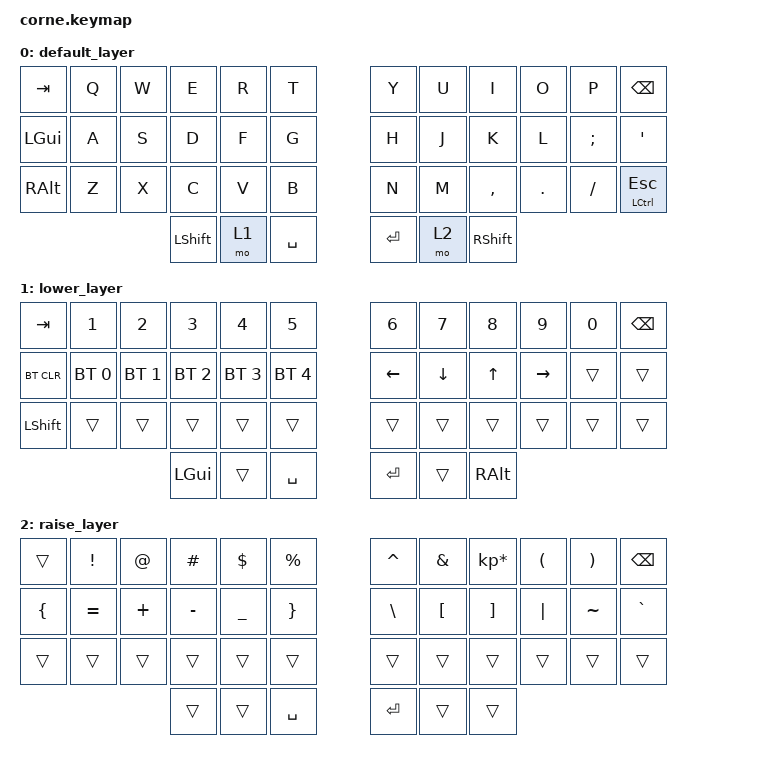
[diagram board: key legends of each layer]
/*
 * Copyright (c) 2020 The ZMK Contributors
 *
 * SPDX-License-Identifier: MIT
 */

#include <behaviors.dtsi>
#include <dt-bindings/zmk/keys.h>
#include <dt-bindings/zmk/bt.h>

/ {
        keymap {
                compatible = "zmk,keymap";

                default_layer {
// -----------------------------------------------------------------------------------------
// |  TAB |  Q  |  W  |  E  |  R  |  T  |   |  Y  |  U   |  I  |  O  |  P  | BKSP |
// | LGUI |  A  |  S  |  D  |  F  |  G  |   |  H  |  J   |  K  |  L  |  ;  |  '   |
// | ALT |  Z  |  X  |  C  |  V  |  B  |   |  N  |  M   |  ,  |  .  |  /  | CTRL/ESC  |
//                    | LSHFT | LWR | SPC |   | ENT | RSE  | RSHFT |
                        bindings = <
   &kp TAB   &kp Q &kp W &kp E &kp R &kp T   &kp Y &kp U  &kp I     &kp O   &kp P    &kp BSPC
   &kp LGUI &kp A &kp S &kp D &kp F &kp G   &kp H &kp J  &kp K     &kp L   &kp SEMI &kp SINGLE_QUOTE
   &kp RALT &kp Z &kp X &kp C &kp V &kp B   &kp N &kp M  &kp COMMA &kp DOT &kp FSLH &mt LCTRL ESC
                  &kp LSHFT &mo 1 &kp SPACE   &kp RET &mo 2 &kp RSHFT
                        >;
                };
                lower_layer {
// -----------------------------------------------------------------------------------------
// |  TAB |  1  |  2  |  3  |  4  |  5  |   |  6  |  7  |  8  |  9  |  0  | BKSP |
// | BTCLR| BT1 | BT2 | BT3 | BT4 | BT5 |   | LFT | DWN |  UP | RGT |     |      |
// | SHFT |     |     |     |     |     |   |     |     |     |     |     |      |
//                    | GUI |     | SPC |   | ENT |     | ALT |
                        bindings = <
   &kp TAB    &kp N1       &kp N2       &kp N3       &kp N4       &kp N5         &kp N6   &kp N7   &kp N8 &kp N9    &kp N0 &kp BSPC
   &bt BT_CLR &bt BT_SEL 0 &bt BT_SEL 1 &bt BT_SEL 2 &bt BT_SEL 3 &bt BT_SEL 4   &kp LEFT &kp DOWN &kp UP &kp RIGHT &trans &trans
   &kp LSHFT  &trans       &trans       &trans       &trans       &trans         &trans   &trans   &trans &trans    &trans &trans
                                    &kp LGUI     &trans       &kp SPACE      &kp RET  &trans   &kp RALT
                        >;
                };

                raise_layer {
// -----------------------------------------------------------------------------------------
// |      |  !  |  @  |  #  |  $  |  %  |   |  ^  |  &  |  *  |  (  |  )  | BKSP |
// |   {  |  =  |  +  |  -  |  _  |  }  |   |  \  |  [  |  ]  | "|" |  ~  |  `   |
// |      |     |     |     |     |     |   |     |     |     |     |     |      |
//                    | GUI |     | SPC |   | ENT |     | ALT |
                        bindings = <
   &trans  &kp EXCL &kp AT &kp HASH &kp DLLR &kp PRCNT      &kp CARET &kp AMPS  &kp KP_MULTIPLY &kp LPAR &kp RPAR &kp BSPC
   &kp LBRC &kp EQUAL &kp PLUS &kp MINUS &kp UNDER &kp RBRC &kp BSLH  &kp LBKT  &kp RBKT &kp PIPE &kp TILDE &kp GRAVE
   &trans &trans &trans &trans &trans &trans      &trans &trans &trans &trans &trans  &trans 
                             &trans &trans   &kp SPACE   &kp RET   &trans    &trans
                        >;
                };
        };
};
